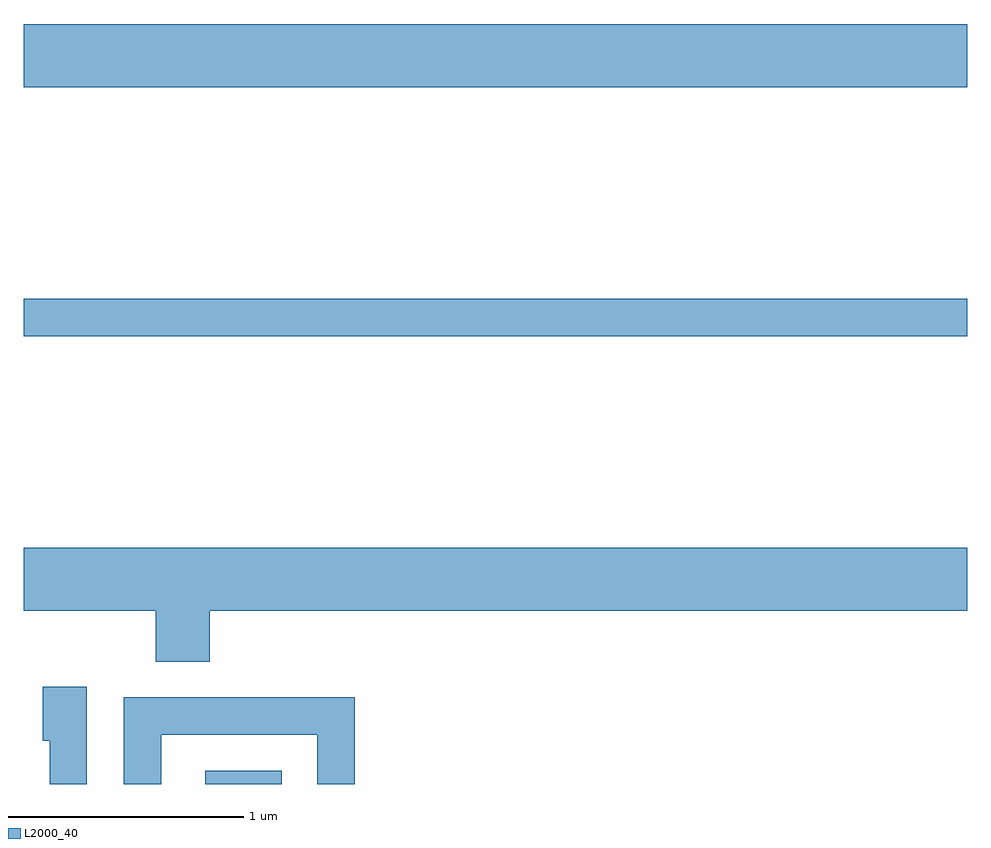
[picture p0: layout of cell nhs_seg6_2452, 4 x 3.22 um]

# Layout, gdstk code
import gdstk
lib = gdstk.Library(unit=1e-6, precision=1e-09)
def R(c, l, rs):  # rectangles x0, y0, x1, y1
    for r in rs: c.add(gdstk.rectangle(r[:2], r[2:], *l))
def P(c, l, *ps):  # polygons
    for p in ps: c.add(gdstk.Polygon(p, *l))
L2000_40 = (2000, 40)

nhs_seg6_2452 = lib.new_cell('nhs_seg6_2452')
R(nhs_seg6_2452, L2000_40, [(260.381,1578.162,260.704,1578.219), (259.611,1580.061,263.611,1580.219), (259.611,1581.116,263.611,1581.384)])
P(nhs_seg6_2452, L2000_40, [(260.399,1578.896),(263.611,1578.896),(263.611,1579.164),(259.611,1579.164),(259.611,1578.896),(260.171,1578.896),(260.171,1578.681),(260.399,1578.681)],
  [(259.879,1578.574),(259.691,1578.574),(259.691,1578.346),(259.721,1578.346),(259.721,1578.162),(259.879,1578.162)],
  [(260.194,1578.371),(260.856,1578.371),(260.856,1578.162),(261.014,1578.162),(261.014,1578.529),(260.036,1578.529),(260.036,1578.162),(260.194,1578.162)])

lib.write_gds('nhs_seg6_2452.gds')
